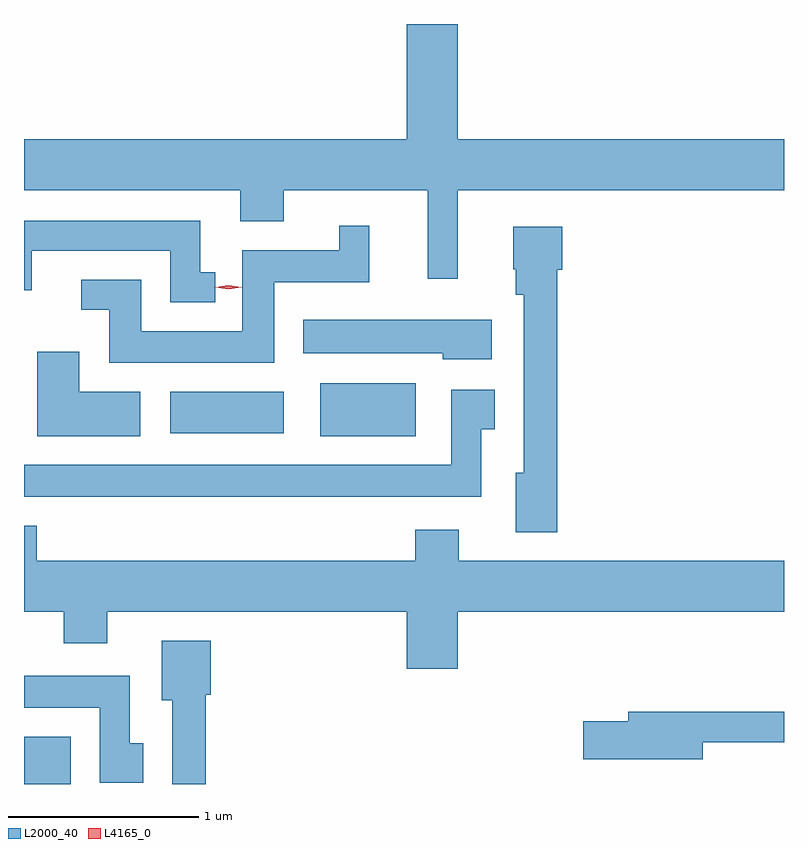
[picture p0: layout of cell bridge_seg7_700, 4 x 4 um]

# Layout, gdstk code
import gdstk
lib = gdstk.Library(unit=1e-6, precision=1e-09)
def R(c, l, rs):  # rectangles x0, y0, x1, y1
    for r in rs: c.add(gdstk.rectangle(r[:2], r[2:], *l))
def P(c, l, *ps):  # polygons
    for p in ps: c.add(gdstk.Polygon(p, *l))
L2000_40 = (2000, 40)
L4165_0 = (4165, 0)

bridge_seg7_700 = lib.new_cell('bridge_seg7_700')
R(bridge_seg7_700, L2000_40, [(552.722,1737.83,552.969,1738.079), (554.281,1739.661,554.784,1739.939), (553.491,1739.676,554.089,1739.894)])
P(bridge_seg7_700, L2000_40, [(552.722,1740.956),(553.861,1740.956),(553.861,1740.791),(554.089,1740.791),(554.089,1740.956),(554.846,1740.956),(554.846,1740.488),(555.004,1740.488),(555.004,1740.956),(556.722,1740.956),(556.722,1741.224),(555.004,1741.224),(555.004,1741.83),(554.736,1741.83),(554.736,1741.224),(552.722,1741.224)],
  [(553.728,1740.524),(553.649,1740.524),(553.649,1740.794),(552.722,1740.794),(552.722,1740.428),(552.764,1740.428),(552.764,1740.636),(553.491,1740.636),(553.491,1740.366),(553.728,1740.366)],
  [(554.039,1740.471),(554.539,1740.471),(554.539,1740.768),(554.381,1740.768),(554.381,1740.639),(553.871,1740.639),(553.871,1740.214),(553.339,1740.214),(553.339,1740.484),(553.023,1740.484),(553.023,1740.326),(553.171,1740.326),(553.171,1740.046),(554.039,1740.046)],
  [(555.529,1740.536),(555.554,1740.536),(555.554,1740.764),(555.296,1740.764),(555.296,1740.54),(555.311,1740.54),(555.311,1740.406),(555.351,1740.406),(555.351,1739.469),(555.311,1739.469),(555.311,1739.156),(555.529,1739.156)],
  [(555.184,1740.274),(554.191,1740.274),(554.191,1740.096),(554.926,1740.096),(554.926,1740.066),(555.184,1740.066)],
  [(553.334,1739.894),(553.014,1739.894),(553.014,1740.104),(552.791,1740.104),(552.791,1739.661),(553.334,1739.661)],
  [(555.129,1739.696),(555.199,1739.696),(555.199,1739.904),(554.971,1739.904),(554.971,1739.509),(552.722,1739.509),(552.722,1739.341),(555.129,1739.341)],
  [(555.004,1738.736),(556.722,1738.736),(556.722,1739.004),(555.009,1739.004),(555.009,1739.169),(554.781,1739.169),(554.781,1739.004),(552.789,1739.004),(552.789,1739.189),(552.722,1739.189),(552.722,1738.736),(552.931,1738.736),(552.931,1738.571),(553.159,1738.571),(553.159,1738.736),(554.736,1738.736),(554.736,1738.436),(555.004,1738.436)],
  [(553.679,1738.301),(553.704,1738.301),(553.704,1738.584),(553.446,1738.584),(553.446,1738.271),(553.501,1738.271),(553.501,1737.83),(553.679,1737.83)],
  [(553.349,1738.044),(553.279,1738.044),(553.279,1738.399),(552.722,1738.399),(552.722,1738.231),(553.121,1738.231),(553.121,1737.836),(553.349,1737.836)],
  [(556.294,1738.051),(556.722,1738.051),(556.722,1738.209),(555.901,1738.209),(555.901,1738.159),(555.666,1738.159),(555.666,1737.961),(556.294,1737.961)])
P(bridge_seg7_700, L4165_0, [(553.798,1740.435),(553.729,1740.444),(553.729,1740.445),(553.729,1740.445),(553.798,1740.454),(553.868,1740.445),(553.868,1740.444),(553.868,1740.444)])

lib.write_gds('bridge_seg7_700.gds')
